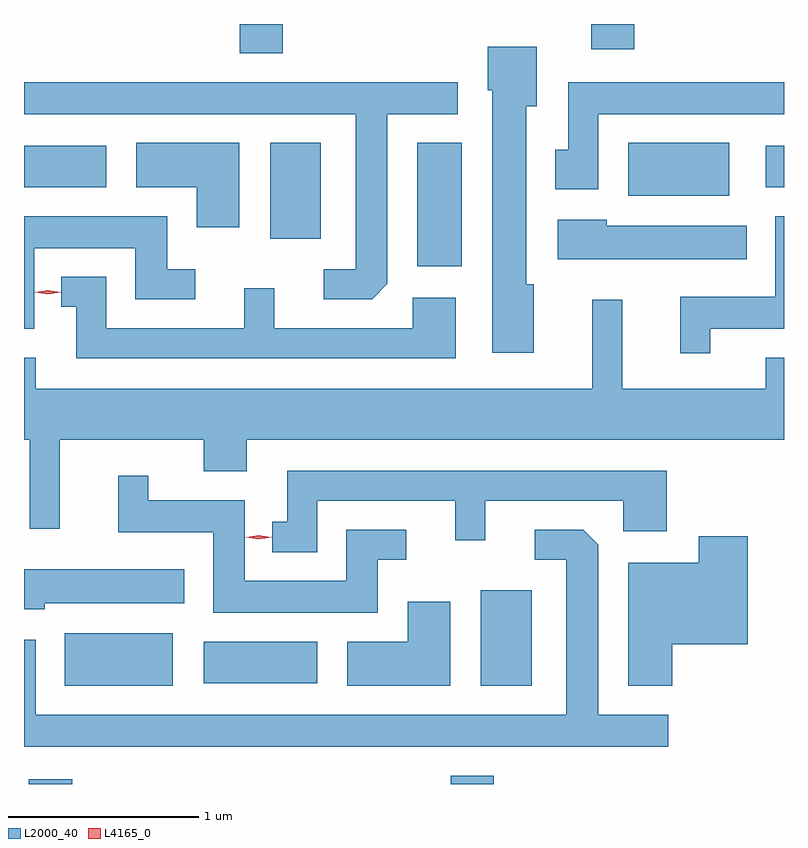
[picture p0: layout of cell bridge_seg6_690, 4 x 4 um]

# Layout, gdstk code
import gdstk
lib = gdstk.Library(unit=1e-6, precision=1e-09)
def R(c, l, rs):  # rectangles x0, y0, x1, y1
    for r in rs: c.add(gdstk.rectangle(r[:2], r[2:], *l))
def P(c, l, *ps):  # polygons
    for p in ps: c.add(gdstk.Polygon(p, *l))
L2000_40 = (2000, 40)
L4165_0 = (4165, 0)

bridge_seg6_690 = lib.new_cell('bridge_seg6_690')
R(bridge_seg6_690, L2000_40, [(308.311,1543.785,308.539,1543.809), (310.531,1543.785,310.759,1543.829), (308.501,1544.301,309.069,1544.579), (310.691,1544.301,310.959,1544.804), (309.231,1544.316,309.829,1544.534), (310.356,1546.511,310.589,1547.159), (309.581,1546.656,309.849,1547.159), (311.466,1546.881,311.999,1547.159), (308.286,1546.926,308.719,1547.144), (312.191,1546.926,312.286,1547.144), (309.421,1547.631,309.649,1547.785), (311.271,1547.651,311.499,1547.785)])
P(bridge_seg6_690, L2000_40, [(310.969,1546.414),(310.929,1546.414),(310.929,1547.351),(310.984,1547.351),(310.984,1547.664),(310.726,1547.664),(310.726,1547.436),(310.751,1547.436),(310.751,1546.056),(310.969,1546.056)],
  [(311.309,1547.311),(312.286,1547.311),(312.286,1547.479),(311.151,1547.479),(311.151,1547.124),(311.081,1547.124),(311.081,1546.916),(311.309,1546.916)],
  [(310.199,1546.417),(310.199,1547.311),(310.568,1547.311),(310.568,1547.479),(308.286,1547.479),(308.286,1547.311),(310.031,1547.311),(310.031,1546.494),(309.863,1546.494),(309.863,1546.336),(310.119,1546.336)],
  [(309.419,1547.159),(308.876,1547.159),(308.876,1546.926),(309.196,1546.926),(309.196,1546.716),(309.419,1546.716)],
  [(311.899,1546.181),(312.286,1546.181),(312.286,1546.774),(312.241,1546.774),(312.241,1546.349),(311.741,1546.349),(311.741,1546.053),(311.899,1546.053)],
  [(308.339,1546.606),(308.871,1546.606),(308.871,1546.336),(309.188,1546.336),(309.188,1546.494),(309.039,1546.494),(309.039,1546.774),(308.286,1546.774),(308.286,1546.181),(308.339,1546.181)],
  [(312.089,1546.724),(311.354,1546.724),(311.354,1546.754),(311.096,1546.754),(311.096,1546.546),(312.089,1546.546)],
  [(310.559,1546.344),(310.331,1546.344),(310.331,1546.184),(309.604,1546.184),(309.604,1546.393),(309.446,1546.393),(309.446,1546.184),(308.719,1546.184),(308.719,1546.454),(308.483,1546.454),(308.483,1546.296),(308.561,1546.296),(308.561,1546.026),(310.559,1546.026)],
  [(308.474,1545.596),(309.231,1545.596),(309.231,1545.431),(309.459,1545.431),(309.459,1545.596),(312.286,1545.596),(312.286,1546.029),(312.191,1546.029),(312.191,1545.864),(311.434,1545.864),(311.434,1546.333),(311.276,1546.333),(311.276,1545.864),(308.349,1545.864),(308.349,1546.029),(308.286,1546.029),(308.286,1545.596),(308.316,1545.596),(308.316,1545.128),(308.474,1545.128)],
  [(309.829,1545.276),(310.556,1545.276),(310.556,1545.068),(310.714,1545.068),(310.714,1545.276),(311.441,1545.276),(311.441,1545.116),(311.669,1545.116),(311.669,1545.434),(309.671,1545.434),(309.671,1545.164),(309.593,1545.164),(309.593,1545.006),(309.829,1545.006)],
  [(310.149,1544.966),(310.298,1544.966),(310.298,1545.124),(309.981,1545.124),(309.981,1544.854),(309.449,1544.854),(309.449,1545.279),(308.939,1545.279),(308.939,1545.408),(308.781,1545.408),(308.781,1545.111),(309.281,1545.111),(309.281,1544.686),(310.149,1544.686)],
  [(311.678,1544.149),(311.309,1544.149),(311.309,1545.044),(311.229,1545.124),(310.973,1545.124),(310.973,1544.966),(311.141,1544.966),(311.141,1544.149),(308.349,1544.149),(308.349,1544.544),(308.286,1544.544),(308.286,1543.981),(311.678,1543.981)],
  [(311.699,1544.521),(312.094,1544.521),(312.094,1545.089),(311.836,1545.089),(311.836,1544.949),(311.466,1544.949),(311.466,1544.301),(311.699,1544.301)],
  [(308.394,1544.736),(309.129,1544.736),(309.129,1544.914),(308.286,1544.914),(308.286,1544.706),(308.394,1544.706)],
  [(310.529,1544.744),(310.306,1544.744),(310.306,1544.534),(309.986,1544.534),(309.986,1544.301),(310.529,1544.301)])
P(bridge_seg6_690, L4165_0, [(308.411,1546.363),(308.342,1546.373),(308.342,1546.373),(308.342,1546.374),(308.411,1546.383),(308.481,1546.373),(308.481,1546.373),(308.481,1546.372)],
  [(309.521,1545.074),(309.452,1545.083),(309.452,1545.084),(309.452,1545.084),(309.521,1545.094),(309.591,1545.085),(309.591,1545.084),(309.591,1545.084)])

lib.write_gds('bridge_seg6_690.gds')
